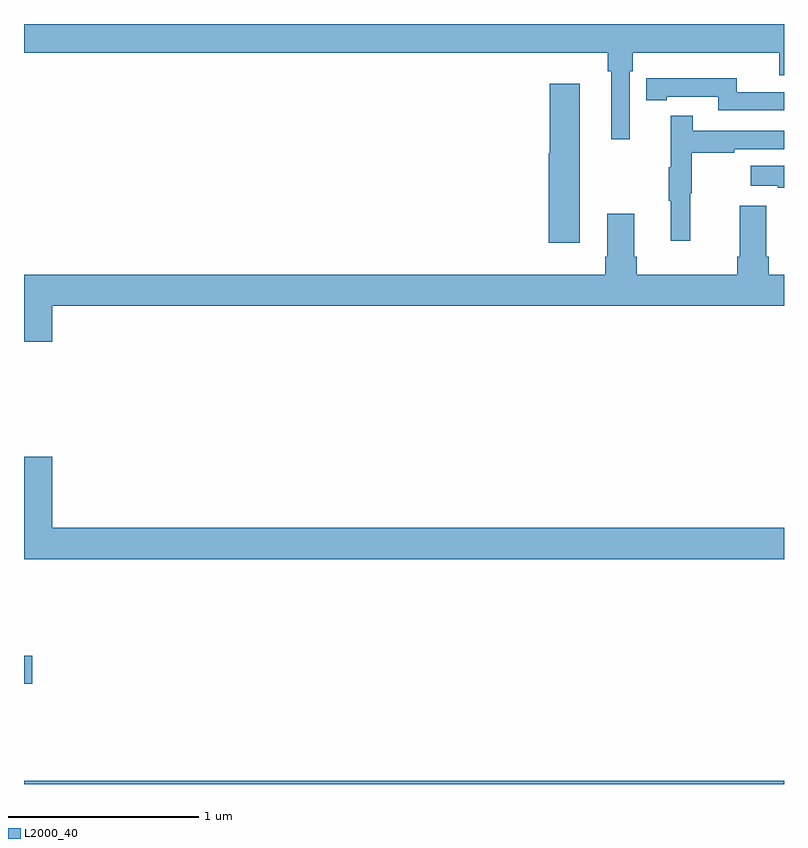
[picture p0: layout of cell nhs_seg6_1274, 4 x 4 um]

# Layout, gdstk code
import gdstk
lib = gdstk.Library(unit=1e-6, precision=1e-09)
def R(c, l, rs):  # rectangles x0, y0, x1, y1
    for r in rs: c.add(gdstk.rectangle(r[:2], r[2:], *l))
def P(c, l, *ps):  # polygons
    for p in ps: c.add(gdstk.Polygon(p, *l))
L2000_40 = (2000, 40)

nhs_seg6_1274 = lib.new_cell('nhs_seg6_1274')
R(nhs_seg6_1274, L2000_40, [(189,931.5,193,931.516), (189,932.027,189.043,932.174)])
P(nhs_seg6_1274, L2000_40, [(192.189,935.252),(192.203,935.252),(192.203,935.348),(192.974,935.348),(192.974,935.231),(193,935.231),(193,935.5),(189,935.5),(189,935.348),(192.073,935.348),(192.073,935.252),(192.092,935.252),(192.092,934.893),(192.189,934.893)],
  [(193,935.142),(192.75,935.142),(192.75,935.215),(192.382,935.215),(192.382,935.214),(192.274,935.214),(192.274,935.098),(192.382,935.098),(192.382,935.118),(192.654,935.118),(192.654,935.046),(193,935.046)],
  [(191.926,935.185),(191.768,935.185),(191.768,934.821),(191.762,934.821),(191.762,934.35),(191.926,934.35)],
  [(192.506,934.608),(192.514,934.608),(192.514,934.822),(192.737,934.822),(192.737,934.842),(193,934.842),(193,934.938),(192.521,934.938),(192.521,935.017),(192.404,935.017),(192.404,934.745),(192.393,934.745),(192.393,934.571),(192.404,934.571),(192.404,934.359),(192.506,934.359)],
  [(193,934.753),(192.825,934.753),(192.825,934.649),(192.968,934.649),(192.968,934.639),(193,934.639)],
  [(189.148,934.016),(193,934.016),(193,934.18),(192.92,934.18),(192.92,934.276),(192.907,934.276),(192.907,934.543),(192.767,934.543),(192.767,934.276),(192.755,934.276),(192.755,934.18),(192.224,934.18),(192.224,934.276),(192.211,934.276),(192.211,934.501),(192.071,934.501),(192.071,934.276),(192.059,934.276),(192.059,934.18),(189,934.18),(189,933.828),(189.148,933.828)],
  [(193,932.848),(189.148,932.848),(189.148,933.223),(189,933.223),(189,932.684),(193,932.684)])

lib.write_gds('nhs_seg6_1274.gds')
